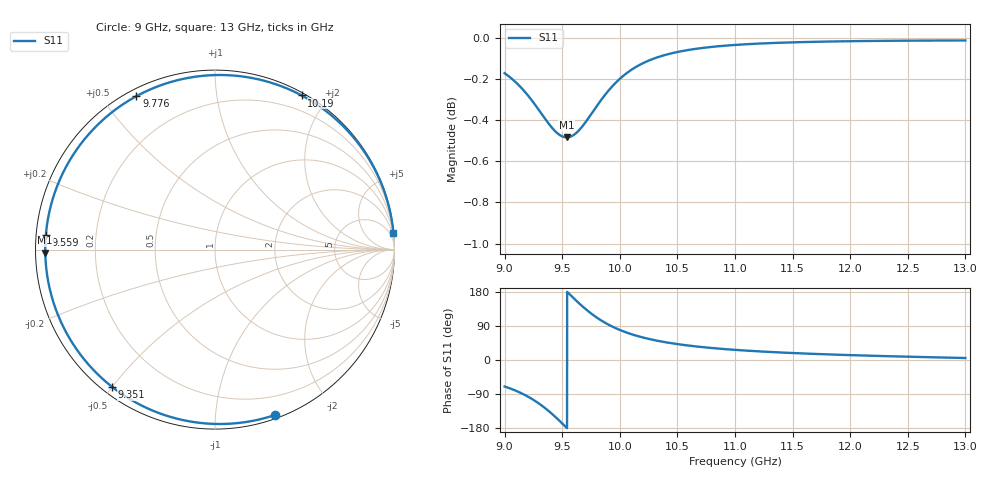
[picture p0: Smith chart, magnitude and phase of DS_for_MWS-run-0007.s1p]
! TOUCHSTONE file generated by CST DESIGN STUDIO
! Date and time: Tue Feb  4 13:48:50 2025
! Project name: C:\Work\MatlabApps\UnitCellOptimizationMatlab\CST\unitcell.cst
! Tree item: Tasks\Sweep1\SPara1\S-Parameters
! Header version: 2024
! Port assignment regex: !\s*Touchstone port\s*([0-9]+)\s*=\s*(CST MWS port|CST DES external port|CST DES block port)\s*(.+)\s* \(\"(.*)\"\)(\s*mode\s*([0-9]+))?.*
! Touchstone port assignment:
! Touchstone port 1 = CST DES external port 1 ("")
# GHz S MA R 50
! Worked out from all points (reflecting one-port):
!   4001 points, 9 GHz to 13 GHz, reference 50 ohm
!   lowest |S11| = -0.5 dB at 9.539 GHz (marker M1), VSWR 35.93, Z = 1.39 - j0.46 ohm
!   phase of S11 starts at -70 deg and turns -285 deg over the sweep
!   S11 on the Smith chart (normalised r, x): 9 GHz: 0.03, -1.43; 9.351 GHz: 0.03, -0.50; 9.559 GHz: 0.03, +0.04; 9.776 GHz: 0.03, +0.61; 10.19 GHz: 0.03, +1.71; 13 GHz: 0, +22
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9  0.9804 -69.9
9.099  0.9753 -81.3
9.207  0.968 -97.4
9.283  0.9617 -111.7
9.351  0.9558 -126.8
9.422  0.9502 -145.1
9.463  0.9478 -156.5
9.5  0.9464 -167.3
9.539  0.9458 -178.9
9.559  0.946 175.1
9.613  0.9477 159.1
9.674  0.9516 142.1
9.725  0.9558 129.0
9.776  0.9604 117.1
9.823  0.9646 107.3
9.875  0.9689 97.8
9.933  0.9731 88.5
10  0.9773 79.3
10.089  0.9818 69.3
10.185  0.9854 60.6
10.329  0.9892 50.6
10.5  0.9921 42.0
10.721  0.9944 33.9
11  0.9961 26.8
11.5  0.9975 18.4
12  0.9981 12.9
12.5  0.9984 8.7
13  0.9986 5.3
